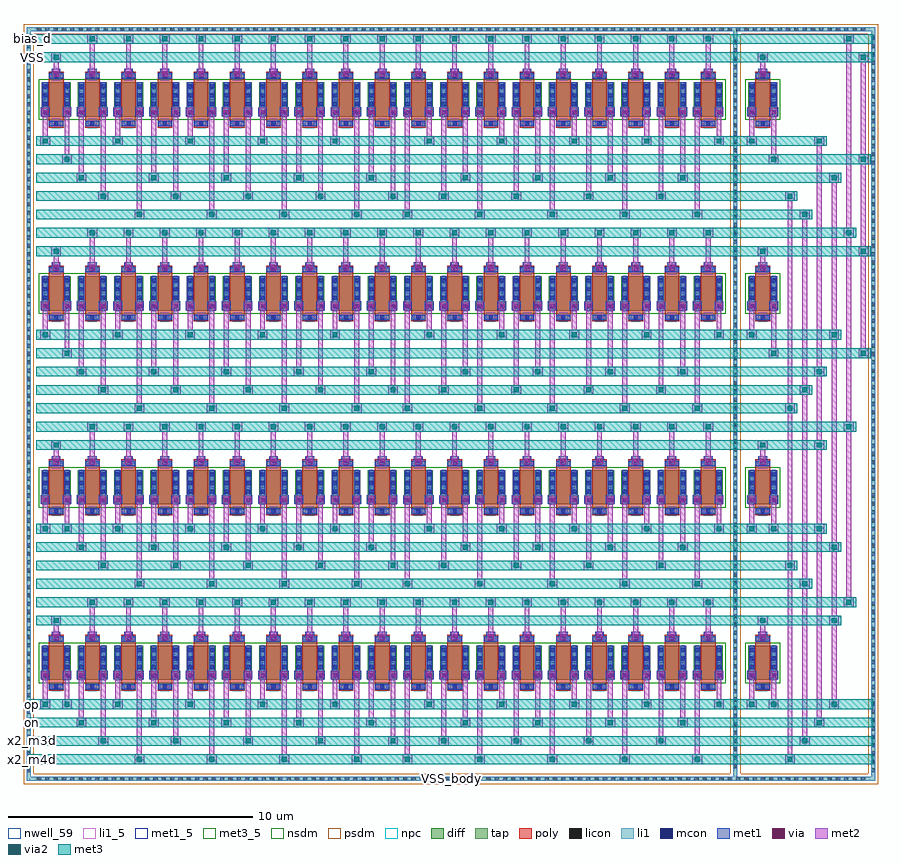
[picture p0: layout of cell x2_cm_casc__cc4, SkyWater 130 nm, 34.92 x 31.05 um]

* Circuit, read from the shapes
.subckt x2_cm_casc__cc4 VSS VSS_body bias_d on op x2_m3d x2_m4d
XM1 op op op VSS_body sky130_fd_pr__nfet_01v8 w=1.4 l=0.6 m=2
XM2 on on on VSS_body sky130_fd_pr__nfet_01v8 w=1.4 l=0.6 m=2
XM3 VSS VSS op VSS_body sky130_fd_pr__nfet_01v8 w=1.4 l=0.6 m=2
XM4 VSS VSS on VSS_body sky130_fd_pr__nfet_01v8 w=1.4 l=0.6 m=2
XM5 x2_m3d bias_d on VSS_body sky130_fd_pr__nfet_01v8 w=1.4 l=0.6 m=36
XM6 x2_m4d bias_d op VSS_body sky130_fd_pr__nfet_01v8 w=1.4 l=0.6 m=36
.ends

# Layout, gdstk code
from math import pi, radians
import gdstk
lib = gdstk.Library(unit=1e-6, precision=1e-09)
def R(c, l, rs):  # rectangles x0, y0, x1, y1
    for r in rs: c.add(gdstk.rectangle(r[:2], r[2:], *l))
def A(c, l, x, y, w, h, nx, ny, dx, dy):  # array of equal rectangles
    R(c, l, [(x+i*dx, y+j*dy, x+i*dx+w, y+j*dy+h) for i in range(nx) for j in range(ny)])
nwell_59 = (64, 59)
diff = (65, 20)
tap = (65, 44)
poly = (66, 20)
licon = (66, 44)
li1_5 = (67, 5)
li1 = (67, 20)
mcon = (67, 44)
met1_5 = (68, 5)
met1 = (68, 20)
via = (68, 44)
met2 = (69, 20)
via2 = (69, 44)
met3_5 = (70, 5)
met3 = (70, 20)
nsdm = (93, 44)
psdm = (94, 20)
npc = (95, 20)

sky130_fd_pr__nfet_01v8_ = lib.new_cell('sky130_fd_pr__nfet_01v8_KCM6UP')
R(sky130_fd_pr__nfet_01v8_, diff, [(-0.59,-0.7,0.59,0.7)])
R(sky130_fd_pr__nfet_01v8_, poly, [(-0.3,-1.14,0.3,1.14)])
A(sky130_fd_pr__nfet_01v8_, licon, -0.53, -0.595, 0.17, 0.17, 1, 4, 0, 0.34)
A(sky130_fd_pr__nfet_01v8_, licon, 0.36, -0.595, 0.17, 0.17, 1, 4, 0, 0.34)
R(sky130_fd_pr__nfet_01v8_, licon, [(-0.085,-1.06,0.085,-0.89), (-0.085,0.89,0.085,1.06)])
R(sky130_fd_pr__nfet_01v8_, li1, [(-0.3,-1.06,0.3,-0.89), (-0.53,-0.72,-0.36,0.72), (0.36,-0.72,0.53,0.72), (-0.3,0.89,0.3,1.06)])
A(sky130_fd_pr__nfet_01v8_, mcon, -0.53, -0.625, 0.17, 0.17, 1, 4, 0, 0.36)
A(sky130_fd_pr__nfet_01v8_, mcon, 0.36, -0.625, 0.17, 0.17, 1, 4, 0, 0.36)
R(sky130_fd_pr__nfet_01v8_, mcon, [(-0.085,-1.06,0.085,-0.89), (-0.085,0.89,0.085,1.06)])
R(sky130_fd_pr__nfet_01v8_, met1, [(-0.28,-1.09,0.28,-0.86), (-0.56,-0.7,-0.33,0.7), (0.33,-0.7,0.56,0.7), (-0.28,0.86,0.28,1.09)])
R(sky130_fd_pr__nfet_01v8_, nsdm, [(-0.715,-0.825,0.715,0.825)])
R(sky130_fd_pr__nfet_01v8_, npc, [(-0.185,-1.16,0.185,-0.79), (-0.185,0.79,0.185,1.16)])
sky130_fd_pr__nfet_01v8_.add(gdstk.Label('D', (-0.445,0), layer=67, texttype=5))
sky130_fd_pr__nfet_01v8_.add(gdstk.Label('S', (0.445,0), layer=67, texttype=5))
sky130_fd_pr__nfet_01v8_.add(gdstk.Label('G', (0,0.975), layer=67, texttype=5))

nfet_01v8_w1p4_l0p6_m2__ = lib.new_cell('nfet_01v8_W1p4_L0p6_m2__nf1_gboth_sdfull_ng')
R(nfet_01v8_w1p4_l0p6_m2__, nwell_59, [(0.05,1.09,0.15,1.19)])
R(nfet_01v8_w1p4_l0p6_m2__, met1_5, [(0.03,1.14,0.26,1.34), (0.92,1.14,1.15,1.34), (0.31,2,0.87,2.23)])
R(nfet_01v8_w1p4_l0p6_m2__, met1, [(0.03,1.14,0.26,1.34), (0.92,1.14,1.15,1.34), (0.31,2,0.87,2.23)])
nfet_01v8_w1p4_l0p6_m2__.add(gdstk.Reference(sky130_fd_pr__nfet_01v8_, (0.59,1.14)))
nfet_01v8_w1p4_l0p6_m2__.add(gdstk.Label('D', (0.145,1.24), layer=68, texttype=5))
nfet_01v8_w1p4_l0p6_m2__.add(gdstk.Label('S', (1.035,1.24), layer=68, texttype=5))
nfet_01v8_w1p4_l0p6_m2__.add(gdstk.Label('G', (0.59,2.115), layer=68, texttype=5))
nfet_01v8_w1p4_l0p6_m2__.add(gdstk.Label('B', (0.1,1.14), layer=64, texttype=59))

nfet_01v8_w1p4_l0p6_m36_ = lib.new_cell('nfet_01v8_W1p4_L0p6_m36__nf1_gboth_sdfull_ng')
R(nfet_01v8_w1p4_l0p6_m36_, nwell_59, [(0.05,1.09,0.15,1.19)])
R(nfet_01v8_w1p4_l0p6_m36_, met1_5, [(0.03,1.14,0.26,1.34), (0.92,1.14,1.15,1.34), (0.31,2,0.87,2.23)])
R(nfet_01v8_w1p4_l0p6_m36_, met1, [(0.03,1.14,0.26,1.34), (0.92,1.14,1.15,1.34), (0.31,2,0.87,2.23)])
nfet_01v8_w1p4_l0p6_m36_.add(gdstk.Reference(sky130_fd_pr__nfet_01v8_, (0.59,1.14)))
nfet_01v8_w1p4_l0p6_m36_.add(gdstk.Label('D', (0.145,1.24), layer=68, texttype=5))
nfet_01v8_w1p4_l0p6_m36_.add(gdstk.Label('S', (1.035,1.24), layer=68, texttype=5))
nfet_01v8_w1p4_l0p6_m36_.add(gdstk.Label('G', (0.59,2.115), layer=68, texttype=5))
nfet_01v8_w1p4_l0p6_m36_.add(gdstk.Label('B', (0.1,1.14), layer=64, texttype=59))

x2_cm_casc__cc4 = lib.new_cell('x2_cm_casc__cc4')
R(x2_cm_casc__cc4, tap, [(-0.485,-3.685,34.185,-3.515), (-0.485,-3.515,-0.315,26.945), (28.385,-3.515,28.555,26.945), (34.015,-3.515,34.185,26.945), (-0.485,26.945,34.185,27.115)])
A(x2_cm_casc__cc4, licon, -0.065, -3.685, 0.17, 0.17, 100, 2, 0.34, 30.63)
A(x2_cm_casc__cc4, licon, -0.485, -3.33, 0.17, 0.17, 1, 89, 0, 0.34)
A(x2_cm_casc__cc4, licon, 34.015, -3.33, 0.17, 0.17, 1, 89, 0, 0.34)
A(x2_cm_casc__cc4, licon, 28.385, -3.16, 0.17, 0.17, 1, 88, 0, 0.34)
R(x2_cm_casc__cc4, li1_5, [(16.8,-3.65,16.9,-3.55)])
R(x2_cm_casc__cc4, li1, [(-0.485,-3.685,34.185,-3.515), (-0.485,-3.515,-0.315,26.945), (28.385,-3.515,28.555,26.945), (34.015,-3.515,34.185,26.945), (-0.485,26.945,34.185,27.115)])
A(x2_cm_casc__cc4, met1, 0.535, 2.05, 0.36, 0.36, 19, 2, 1.48, 7.17)
A(x2_cm_casc__cc4, met1, 0.09, 7.63, 0.36, 0.36, 1, 3, 0, 7.92)
A(x2_cm_casc__cc4, met1, 0.98, 7.63, 0.36, 0.36, 1, 3, 0, 7.92)
A(x2_cm_casc__cc4, met1, 1.57, 7.63, 0.36, 0.36, 1, 3, 0, 7.92)
A(x2_cm_casc__cc4, met1, 2.46, 7.63, 0.36, 0.36, 1, 3, 0, 7.92)
A(x2_cm_casc__cc4, met1, 3.05, 7.63, 0.36, 0.36, 1, 3, 0, 7.92)
A(x2_cm_casc__cc4, met1, 3.94, 7.63, 0.36, 0.36, 1, 3, 0, 7.92)
A(x2_cm_casc__cc4, met1, 4.53, 7.63, 0.36, 0.36, 1, 3, 0, 7.92)
A(x2_cm_casc__cc4, met1, 5.42, 7.63, 0.36, 0.36, 1, 3, 0, 7.92)
A(x2_cm_casc__cc4, met1, 6.01, 7.63, 0.36, 0.36, 1, 3, 0, 7.92)
A(x2_cm_casc__cc4, met1, 6.9, 7.63, 0.36, 0.36, 1, 3, 0, 7.92)
A(x2_cm_casc__cc4, met1, 7.49, 7.63, 0.36, 0.36, 1, 3, 0, 7.92)
A(x2_cm_casc__cc4, met1, 8.38, 7.63, 0.36, 0.36, 1, 3, 0, 7.92)
A(x2_cm_casc__cc4, met1, 8.97, 7.63, 0.36, 0.36, 1, 3, 0, 7.92)
A(x2_cm_casc__cc4, met1, 9.86, 7.63, 0.36, 0.36, 1, 3, 0, 7.92)
A(x2_cm_casc__cc4, met1, 10.45, 7.63, 0.36, 0.36, 1, 3, 0, 7.92)
A(x2_cm_casc__cc4, met1, 11.34, 7.63, 0.36, 0.36, 1, 3, 0, 7.92)
A(x2_cm_casc__cc4, met1, 11.93, 7.63, 0.36, 0.36, 1, 3, 0, 7.92)
A(x2_cm_casc__cc4, met1, 12.82, 7.63, 0.36, 0.36, 1, 3, 0, 7.92)
A(x2_cm_casc__cc4, met1, 13.41, 7.63, 0.36, 0.36, 1, 3, 0, 7.92)
A(x2_cm_casc__cc4, met1, 14.3, 7.63, 0.36, 0.36, 1, 3, 0, 7.92)
A(x2_cm_casc__cc4, met1, 14.89, 7.63, 0.36, 0.36, 1, 3, 0, 7.92)
A(x2_cm_casc__cc4, met1, 15.78, 7.63, 0.36, 0.36, 1, 3, 0, 7.92)
A(x2_cm_casc__cc4, met1, 16.37, 7.63, 0.36, 0.36, 1, 3, 0, 7.92)
A(x2_cm_casc__cc4, met1, 17.26, 7.63, 0.36, 0.36, 1, 3, 0, 7.92)
A(x2_cm_casc__cc4, met1, 17.85, 7.63, 0.36, 0.36, 1, 3, 0, 7.92)
A(x2_cm_casc__cc4, met1, 18.74, 7.63, 0.36, 0.36, 1, 3, 0, 7.92)
A(x2_cm_casc__cc4, met1, 19.33, 7.63, 0.36, 0.36, 1, 3, 0, 7.92)
A(x2_cm_casc__cc4, met1, 20.22, 7.63, 0.36, 0.36, 1, 3, 0, 7.92)
A(x2_cm_casc__cc4, met1, 20.81, 7.63, 0.36, 0.36, 1, 3, 0, 7.92)
A(x2_cm_casc__cc4, met1, 21.7, 7.63, 0.36, 0.36, 1, 3, 0, 7.92)
A(x2_cm_casc__cc4, met1, 22.29, 7.63, 0.36, 0.36, 1, 3, 0, 7.92)
A(x2_cm_casc__cc4, met1, 23.18, 7.63, 0.36, 0.36, 1, 3, 0, 7.92)
A(x2_cm_casc__cc4, met1, 23.77, 7.63, 0.36, 0.36, 1, 3, 0, 7.92)
A(x2_cm_casc__cc4, met1, 24.66, 7.63, 0.36, 0.36, 1, 3, 0, 7.92)
A(x2_cm_casc__cc4, met1, 25.25, 7.63, 0.36, 0.36, 1, 3, 0, 7.92)
A(x2_cm_casc__cc4, met1, 26.14, 7.63, 0.36, 0.36, 1, 3, 0, 7.92)
A(x2_cm_casc__cc4, met1, 26.73, 7.63, 0.36, 0.36, 1, 3, 0, 7.92)
A(x2_cm_casc__cc4, met1, 27.62, 7.63, 0.36, 0.36, 1, 3, 0, 7.92)
A(x2_cm_casc__cc4, met1, 28.96, 7.63, 0.36, 0.36, 1, 3, 0, 7.92)
A(x2_cm_casc__cc4, met1, 29.85, 7.63, 0.36, 0.36, 1, 3, 0, 7.92)
A(x2_cm_casc__cc4, met1, 29.405, 9.22, 0.36, 0.36, 1, 3, 0, 7.92)
A(x2_cm_casc__cc4, met1, 0.535, 17.14, 0.36, 0.36, 19, 2, 1.48, 7.92)
R(x2_cm_casc__cc4, met1, [(0.09,0.46,0.45,0.82), (0.98,0.46,1.34,0.82), (1.57,0.46,1.93,0.82), (2.46,0.46,2.82,0.82), (3.05,0.46,3.41,0.82), (3.94,0.46,4.3,0.82), (4.53,0.46,4.89,0.82), (5.42,0.46,5.78,0.82), (6.01,0.46,6.37,0.82), (6.9,0.46,7.26,0.82), (7.49,0.46,7.85,0.82), (8.38,0.46,8.74,0.82), (8.97,0.46,9.33,0.82), (9.86,0.46,10.22,0.82), (10.45,0.46,10.81,0.82), (11.34,0.46,11.7,0.82), (11.93,0.46,12.29,0.82), (12.82,0.46,13.18,0.82), (13.41,0.46,13.77,0.82), (14.3,0.46,14.66,0.82), (14.89,0.46,15.25,0.82), (15.78,0.46,16.14,0.82), (16.37,0.46,16.73,0.82), (17.26,0.46,17.62,0.82), (17.85,0.46,18.21,0.82), (18.74,0.46,19.1,0.82), (19.33,0.46,19.69,0.82), (20.22,0.46,20.58,0.82), (20.81,0.46,21.17,0.82), (21.7,0.46,22.06,0.82), (22.29,0.46,22.65,0.82), (23.18,0.46,23.54,0.82), (23.77,0.46,24.13,0.82), (24.66,0.46,25.02,0.82), (25.25,0.46,25.61,0.82), (26.14,0.46,26.5,0.82), (26.73,0.46,27.09,0.82), (27.62,0.46,27.98,0.82), (28.96,0.46,29.32,0.82), (29.85,0.46,30.21,0.82), (29.405,2.05,29.765,2.41)])
A(x2_cm_casc__cc4, via, 0.64, 2.155, 0.15, 0.15, 19, 2, 1.48, 7.17)
A(x2_cm_casc__cc4, via, 0.195, 7.735, 0.15, 0.15, 1, 3, 0, 7.92)
A(x2_cm_casc__cc4, via, 1.085, 7.735, 0.15, 0.15, 1, 3, 0, 7.92)
A(x2_cm_casc__cc4, via, 1.675, 7.735, 0.15, 0.15, 1, 3, 0, 7.92)
A(x2_cm_casc__cc4, via, 2.565, 7.735, 0.15, 0.15, 1, 3, 0, 7.92)
A(x2_cm_casc__cc4, via, 3.155, 7.735, 0.15, 0.15, 1, 3, 0, 7.92)
A(x2_cm_casc__cc4, via, 4.045, 7.735, 0.15, 0.15, 1, 3, 0, 7.92)
A(x2_cm_casc__cc4, via, 4.635, 7.735, 0.15, 0.15, 1, 3, 0, 7.92)
A(x2_cm_casc__cc4, via, 5.525, 7.735, 0.15, 0.15, 1, 3, 0, 7.92)
A(x2_cm_casc__cc4, via, 6.115, 7.735, 0.15, 0.15, 1, 3, 0, 7.92)
A(x2_cm_casc__cc4, via, 7.005, 7.735, 0.15, 0.15, 1, 3, 0, 7.92)
A(x2_cm_casc__cc4, via, 7.595, 7.735, 0.15, 0.15, 1, 3, 0, 7.92)
A(x2_cm_casc__cc4, via, 8.485, 7.735, 0.15, 0.15, 1, 3, 0, 7.92)
A(x2_cm_casc__cc4, via, 9.075, 7.735, 0.15, 0.15, 1, 3, 0, 7.92)
A(x2_cm_casc__cc4, via, 9.965, 7.735, 0.15, 0.15, 1, 3, 0, 7.92)
A(x2_cm_casc__cc4, via, 10.555, 7.735, 0.15, 0.15, 1, 3, 0, 7.92)
A(x2_cm_casc__cc4, via, 11.445, 7.735, 0.15, 0.15, 1, 3, 0, 7.92)
A(x2_cm_casc__cc4, via, 12.035, 7.735, 0.15, 0.15, 1, 3, 0, 7.92)
A(x2_cm_casc__cc4, via, 12.925, 7.735, 0.15, 0.15, 1, 3, 0, 7.92)
A(x2_cm_casc__cc4, via, 13.515, 7.735, 0.15, 0.15, 1, 3, 0, 7.92)
A(x2_cm_casc__cc4, via, 14.405, 7.735, 0.15, 0.15, 1, 3, 0, 7.92)
A(x2_cm_casc__cc4, via, 14.995, 7.735, 0.15, 0.15, 1, 3, 0, 7.92)
A(x2_cm_casc__cc4, via, 15.885, 7.735, 0.15, 0.15, 1, 3, 0, 7.92)
A(x2_cm_casc__cc4, via, 16.475, 7.735, 0.15, 0.15, 1, 3, 0, 7.92)
A(x2_cm_casc__cc4, via, 17.365, 7.735, 0.15, 0.15, 1, 3, 0, 7.92)
A(x2_cm_casc__cc4, via, 17.955, 7.735, 0.15, 0.15, 1, 3, 0, 7.92)
A(x2_cm_casc__cc4, via, 18.845, 7.735, 0.15, 0.15, 1, 3, 0, 7.92)
A(x2_cm_casc__cc4, via, 19.435, 7.735, 0.15, 0.15, 1, 3, 0, 7.92)
A(x2_cm_casc__cc4, via, 20.325, 7.735, 0.15, 0.15, 1, 3, 0, 7.92)
A(x2_cm_casc__cc4, via, 20.915, 7.735, 0.15, 0.15, 1, 3, 0, 7.92)
A(x2_cm_casc__cc4, via, 21.805, 7.735, 0.15, 0.15, 1, 3, 0, 7.92)
A(x2_cm_casc__cc4, via, 22.395, 7.735, 0.15, 0.15, 1, 3, 0, 7.92)
A(x2_cm_casc__cc4, via, 23.285, 7.735, 0.15, 0.15, 1, 3, 0, 7.92)
A(x2_cm_casc__cc4, via, 23.875, 7.735, 0.15, 0.15, 1, 3, 0, 7.92)
A(x2_cm_casc__cc4, via, 24.765, 7.735, 0.15, 0.15, 1, 3, 0, 7.92)
A(x2_cm_casc__cc4, via, 25.355, 7.735, 0.15, 0.15, 1, 3, 0, 7.92)
A(x2_cm_casc__cc4, via, 26.245, 7.735, 0.15, 0.15, 1, 3, 0, 7.92)
A(x2_cm_casc__cc4, via, 26.835, 7.735, 0.15, 0.15, 1, 3, 0, 7.92)
A(x2_cm_casc__cc4, via, 27.725, 7.735, 0.15, 0.15, 1, 3, 0, 7.92)
A(x2_cm_casc__cc4, via, 29.065, 7.735, 0.15, 0.15, 1, 3, 0, 7.92)
A(x2_cm_casc__cc4, via, 29.955, 7.735, 0.15, 0.15, 1, 3, 0, 7.92)
A(x2_cm_casc__cc4, via, 29.51, 9.325, 0.15, 0.15, 1, 3, 0, 7.92)
A(x2_cm_casc__cc4, via, 0.64, 17.245, 0.15, 0.15, 19, 2, 1.48, 7.92)
R(x2_cm_casc__cc4, via, [(0.195,0.565,0.345,0.715), (1.085,0.565,1.235,0.715), (1.675,0.565,1.825,0.715), (2.565,0.565,2.715,0.715), (3.155,0.565,3.305,0.715), (4.045,0.565,4.195,0.715), (4.635,0.565,4.785,0.715), (5.525,0.565,5.675,0.715), (6.115,0.565,6.265,0.715), (7.005,0.565,7.155,0.715), (7.595,0.565,7.745,0.715), (8.485,0.565,8.635,0.715), (9.075,0.565,9.225,0.715), (9.965,0.565,10.115,0.715), (10.555,0.565,10.705,0.715), (11.445,0.565,11.595,0.715), (12.035,0.565,12.185,0.715), (12.925,0.565,13.075,0.715), (13.515,0.565,13.665,0.715), (14.405,0.565,14.555,0.715), (14.995,0.565,15.145,0.715), (15.885,0.565,16.035,0.715), (16.475,0.565,16.625,0.715), (17.365,0.565,17.515,0.715), (17.955,0.565,18.105,0.715), (18.845,0.565,18.995,0.715), (19.435,0.565,19.585,0.715), (20.325,0.565,20.475,0.715), (20.915,0.565,21.065,0.715), (21.805,0.565,21.955,0.715), (22.395,0.565,22.545,0.715), (23.285,0.565,23.435,0.715), (23.875,0.565,24.025,0.715), (24.765,0.565,24.915,0.715), (25.355,0.565,25.505,0.715), (26.245,0.565,26.395,0.715), (26.835,0.565,26.985,0.715), (27.725,0.565,27.875,0.715), (29.065,0.565,29.215,0.715), (29.955,0.565,30.105,0.715), (29.51,2.155,29.66,2.305)])
A(x2_cm_casc__cc4, met2, 3.92, -3, 0.4, 0.4, 4, 3, 2.96, 7.17)
A(x2_cm_casc__cc4, met2, 14.87, -3, 0.4, 0.4, 5, 3, 2.96, 7.17)
A(x2_cm_casc__cc4, met2, 4.02, -2.6, 0.2, 3.08, 4, 2, 2.96, 7.17)
A(x2_cm_casc__cc4, met2, 14.97, -2.6, 0.2, 3.08, 5, 2, 2.96, 7.17)
A(x2_cm_casc__cc4, met2, 2.44, -2.25, 0.4, 0.4, 5, 3, 2.96, 7.17)
A(x2_cm_casc__cc4, met2, 16.35, -2.25, 0.4, 0.4, 4, 3, 2.96, 7.17)
A(x2_cm_casc__cc4, met2, 2.54, -1.85, 0.2, 2.33, 5, 2, 2.96, 7.17)
A(x2_cm_casc__cc4, met2, 16.45, -1.85, 0.2, 2.33, 4, 2, 2.96, 7.17)
A(x2_cm_casc__cc4, met2, 1.55, -1.5, 0.4, 0.4, 5, 3, 2.96, 7.17)
A(x2_cm_casc__cc4, met2, 17.24, -1.5, 0.4, 0.4, 4, 3, 2.96, 7.17)
A(x2_cm_casc__cc4, met2, 1.65, -1.1, 0.2, 1.58, 5, 2, 2.96, 7.17)
A(x2_cm_casc__cc4, met2, 17.34, -1.1, 0.2, 1.58, 4, 2, 2.96, 7.17)
A(x2_cm_casc__cc4, met2, 0.96, -0.75, 0.4, 0.4, 1, 3, 0, 7.17)
A(x2_cm_casc__cc4, met2, 3.03, -0.75, 0.4, 0.4, 4, 2, 2.96, 7.17)
A(x2_cm_casc__cc4, met2, 15.76, -0.75, 0.4, 0.4, 5, 2, 2.96, 7.17)
A(x2_cm_casc__cc4, met2, 29.83, -0.75, 0.4, 0.4, 1, 3, 0, 7.17)
A(x2_cm_casc__cc4, met2, 3.13, -0.35, 0.2, 0.83, 4, 2, 2.96, 7.17)
A(x2_cm_casc__cc4, met2, 15.86, -0.35, 0.2, 0.83, 5, 2, 2.96, 7.17)
A(x2_cm_casc__cc4, met2, 0.585, 2.07, 0.26, 0.32, 19, 2, 1.48, 7.17)
A(x2_cm_casc__cc4, met2, 2.095, 2.39, 0.2, 1.03, 18, 2, 1.48, 7.17)
A(x2_cm_casc__cc4, met2, 1.995, 3.42, 0.4, 0.4, 18, 2, 1.48, 7.17)
A(x2_cm_casc__cc4, met2, 28.94, 6.42, 0.4, 0.4, 1, 3, 0, 7.92)
A(x2_cm_casc__cc4, met2, 29.04, 6.82, 0.2, 0.83, 1, 3, 0, 7.92)
A(x2_cm_casc__cc4, met2, 0.14, 7.65, 0.26, 0.32, 1, 3, 0, 7.92)
A(x2_cm_casc__cc4, met2, 1.03, 7.65, 0.26, 0.32, 1, 3, 0, 7.92)
A(x2_cm_casc__cc4, met2, 1.62, 7.65, 0.26, 0.32, 1, 3, 0, 7.92)
A(x2_cm_casc__cc4, met2, 2.51, 7.65, 0.26, 0.32, 1, 3, 0, 7.92)
A(x2_cm_casc__cc4, met2, 3.1, 7.65, 0.26, 0.32, 1, 3, 0, 7.92)
A(x2_cm_casc__cc4, met2, 3.99, 7.65, 0.26, 0.32, 1, 3, 0, 7.92)
A(x2_cm_casc__cc4, met2, 4.58, 7.65, 0.26, 0.32, 1, 3, 0, 7.92)
A(x2_cm_casc__cc4, met2, 5.47, 7.65, 0.26, 0.32, 1, 3, 0, 7.92)
A(x2_cm_casc__cc4, met2, 6.06, 7.65, 0.26, 0.32, 1, 3, 0, 7.92)
A(x2_cm_casc__cc4, met2, 6.95, 7.65, 0.26, 0.32, 1, 3, 0, 7.92)
A(x2_cm_casc__cc4, met2, 7.54, 7.65, 0.26, 0.32, 1, 3, 0, 7.92)
A(x2_cm_casc__cc4, met2, 8.43, 7.65, 0.26, 0.32, 1, 3, 0, 7.92)
A(x2_cm_casc__cc4, met2, 9.02, 7.65, 0.26, 0.32, 1, 3, 0, 7.92)
A(x2_cm_casc__cc4, met2, 9.91, 7.65, 0.26, 0.32, 1, 3, 0, 7.92)
A(x2_cm_casc__cc4, met2, 10.5, 7.65, 0.26, 0.32, 1, 3, 0, 7.92)
A(x2_cm_casc__cc4, met2, 11.39, 7.65, 0.26, 0.32, 1, 3, 0, 7.92)
A(x2_cm_casc__cc4, met2, 11.98, 7.65, 0.26, 0.32, 1, 3, 0, 7.92)
A(x2_cm_casc__cc4, met2, 12.87, 7.65, 0.26, 0.32, 1, 3, 0, 7.92)
A(x2_cm_casc__cc4, met2, 13.46, 7.65, 0.26, 0.32, 1, 3, 0, 7.92)
A(x2_cm_casc__cc4, met2, 14.35, 7.65, 0.26, 0.32, 1, 3, 0, 7.92)
A(x2_cm_casc__cc4, met2, 14.94, 7.65, 0.26, 0.32, 1, 3, 0, 7.92)
A(x2_cm_casc__cc4, met2, 15.83, 7.65, 0.26, 0.32, 1, 3, 0, 7.92)
A(x2_cm_casc__cc4, met2, 16.42, 7.65, 0.26, 0.32, 1, 3, 0, 7.92)
A(x2_cm_casc__cc4, met2, 17.31, 7.65, 0.26, 0.32, 1, 3, 0, 7.92)
A(x2_cm_casc__cc4, met2, 17.9, 7.65, 0.26, 0.32, 1, 3, 0, 7.92)
A(x2_cm_casc__cc4, met2, 18.79, 7.65, 0.26, 0.32, 1, 3, 0, 7.92)
A(x2_cm_casc__cc4, met2, 19.38, 7.65, 0.26, 0.32, 1, 3, 0, 7.92)
A(x2_cm_casc__cc4, met2, 20.27, 7.65, 0.26, 0.32, 1, 3, 0, 7.92)
A(x2_cm_casc__cc4, met2, 20.86, 7.65, 0.26, 0.32, 1, 3, 0, 7.92)
A(x2_cm_casc__cc4, met2, 21.75, 7.65, 0.26, 0.32, 1, 3, 0, 7.92)
A(x2_cm_casc__cc4, met2, 22.34, 7.65, 0.26, 0.32, 1, 3, 0, 7.92)
A(x2_cm_casc__cc4, met2, 23.23, 7.65, 0.26, 0.32, 1, 3, 0, 7.92)
A(x2_cm_casc__cc4, met2, 23.82, 7.65, 0.26, 0.32, 1, 3, 0, 7.92)
A(x2_cm_casc__cc4, met2, 24.71, 7.65, 0.26, 0.32, 1, 3, 0, 7.92)
A(x2_cm_casc__cc4, met2, 25.3, 7.65, 0.26, 0.32, 1, 3, 0, 7.92)
A(x2_cm_casc__cc4, met2, 26.19, 7.65, 0.26, 0.32, 1, 3, 0, 7.92)
A(x2_cm_casc__cc4, met2, 26.78, 7.65, 0.26, 0.32, 1, 3, 0, 7.92)
A(x2_cm_casc__cc4, met2, 27.67, 7.65, 0.26, 0.32, 1, 3, 0, 7.92)
A(x2_cm_casc__cc4, met2, 29.01, 7.65, 0.26, 0.32, 1, 3, 0, 7.92)
A(x2_cm_casc__cc4, met2, 29.9, 7.65, 0.26, 0.32, 1, 3, 0, 7.92)
A(x2_cm_casc__cc4, met2, 29.455, 9.24, 0.26, 0.32, 1, 3, 0, 7.92)
A(x2_cm_casc__cc4, met2, 0.615, 9.56, 0.2, 0.28, 1, 3, 0, 7.92)
A(x2_cm_casc__cc4, met2, 29.485, 9.56, 0.2, 0.28, 1, 3, 0, 7.92)
A(x2_cm_casc__cc4, met2, 0.515, 9.84, 0.4, 0.4, 1, 3, 0, 7.92)
A(x2_cm_casc__cc4, met2, 29.385, 9.84, 0.4, 0.4, 1, 3, 0, 7.92)
A(x2_cm_casc__cc4, met2, 32.9, 10.59, 0.4, 0.4, 1, 3, 0, 7.92)
A(x2_cm_casc__cc4, met2, 4.02, 11.74, 0.2, 3.83, 4, 2, 2.96, 7.92)
A(x2_cm_casc__cc4, met2, 14.97, 11.74, 0.2, 3.83, 5, 2, 2.96, 7.92)
A(x2_cm_casc__cc4, met2, 2.54, 12.49, 0.2, 3.08, 5, 2, 2.96, 7.92)
A(x2_cm_casc__cc4, met2, 16.45, 12.49, 0.2, 3.08, 4, 2, 2.96, 7.92)
A(x2_cm_casc__cc4, met2, 1.65, 13.24, 0.2, 2.33, 5, 2, 2.96, 7.92)
A(x2_cm_casc__cc4, met2, 17.34, 13.24, 0.2, 2.33, 4, 2, 2.96, 7.92)
A(x2_cm_casc__cc4, met2, 0.07, 14.34, 0.4, 0.4, 5, 2, 2.96, 7.92)
A(x2_cm_casc__cc4, met2, 15.76, 14.34, 0.4, 0.4, 5, 2, 2.96, 7.92)
A(x2_cm_casc__cc4, met2, 0.17, 14.74, 0.2, 0.83, 5, 2, 2.96, 7.92)
A(x2_cm_casc__cc4, met2, 15.86, 14.74, 0.2, 0.83, 5, 2, 2.96, 7.92)
A(x2_cm_casc__cc4, met2, 0.585, 17.16, 0.26, 0.32, 19, 2, 1.48, 7.92)
A(x2_cm_casc__cc4, met2, 2.095, 17.48, 0.2, 1.03, 18, 2, 1.48, 7.92)
A(x2_cm_casc__cc4, met2, 1.995, 18.51, 0.4, 0.4, 18, 2, 1.48, 7.92)
A(x2_cm_casc__cc4, met2, 3.92, 19.26, 0.4, 0.4, 4, 1, 2.96, 0)
A(x2_cm_casc__cc4, met2, 14.87, 19.26, 0.4, 0.4, 5, 1, 2.96, 0)
A(x2_cm_casc__cc4, met2, 2.44, 20.01, 0.4, 0.4, 5, 1, 2.96, 0)
A(x2_cm_casc__cc4, met2, 16.35, 20.01, 0.4, 0.4, 4, 1, 2.96, 0)
A(x2_cm_casc__cc4, met2, 1.55, 20.76, 0.4, 0.4, 5, 1, 2.96, 0)
A(x2_cm_casc__cc4, met2, 17.24, 20.76, 0.4, 0.4, 4, 1, 2.96, 0)
R(x2_cm_casc__cc4, met2, [(30.5,-3,30.9,-2.6), (30.6,-2.6,30.8,4.92), (31.1,-2.25,31.5,-1.85), (31.2,-1.85,31.4,4.17), (31.7,-1.5,32.1,-1.1), (31.8,-1.1,32,6.42), (0.07,-0.75,0.47,-0.35), (28.94,-0.75,29.34,-0.35), (32.3,-0.75,32.7,-0.35), (0.17,-0.35,0.37,0.48), (1.06,-0.35,1.26,0.48), (29.04,-0.35,29.24,0.48), (29.93,-0.35,30.13,0.48), (32.4,-0.35,32.6,2.67), (0.14,0.48,0.4,0.8), (1.03,0.48,1.29,0.8), (1.62,0.48,1.88,0.8), (2.51,0.48,2.77,0.8), (3.1,0.48,3.36,0.8), (3.99,0.48,4.25,0.8), (4.58,0.48,4.84,0.8), (5.47,0.48,5.73,0.8), (6.06,0.48,6.32,0.8), (6.95,0.48,7.21,0.8), (7.54,0.48,7.8,0.8), (8.43,0.48,8.69,0.8), (9.02,0.48,9.28,0.8), (9.91,0.48,10.17,0.8), (10.5,0.48,10.76,0.8), (11.39,0.48,11.65,0.8), (11.98,0.48,12.24,0.8), (12.87,0.48,13.13,0.8), (13.46,0.48,13.72,0.8), (14.35,0.48,14.61,0.8), (14.94,0.48,15.2,0.8), (15.83,0.48,16.09,0.8), (16.42,0.48,16.68,0.8), (17.31,0.48,17.57,0.8), (17.9,0.48,18.16,0.8), (18.79,0.48,19.05,0.8), (19.38,0.48,19.64,0.8), (20.27,0.48,20.53,0.8), (20.86,0.48,21.12,0.8), (21.75,0.48,22.01,0.8), (22.34,0.48,22.6,0.8), (23.23,0.48,23.49,0.8), (23.82,0.48,24.08,0.8), (24.71,0.48,24.97,0.8), (25.3,0.48,25.56,0.8), (26.19,0.48,26.45,0.8), (26.78,0.48,27.04,0.8), (27.67,0.48,27.93,0.8), (29.01,0.48,29.27,0.8), (29.9,0.48,30.16,0.8), (29.455,2.07,29.715,2.39), (0.615,2.39,0.815,2.67), (29.485,2.39,29.685,2.67), (0.515,2.67,0.915,3.07), (29.385,2.67,29.785,3.07), (32.3,2.67,32.7,3.07), (32.4,3.07,32.6,5.67), (32.9,3.42,33.3,3.82), (33,3.82,33.2,10.59), (31.1,4.17,31.5,4.57), (31.2,4.57,31.4,12.09), (30.5,4.92,30.9,5.32), (30.6,5.32,30.8,11.34), (32.3,5.67,32.7,6.07), (32.4,6.07,32.6,14.34), (0.07,6.42,0.47,6.82), (31.7,6.42,32.1,6.82), (0.17,6.82,0.37,7.65), (1.06,6.82,1.26,7.65), (29.93,6.82,30.13,7.65), (31.8,6.82,32,9.84), (31.7,9.84,32.1,10.24), (31.8,10.24,32,12.84), (33,10.99,33.2,18.51), (30.5,11.34,30.9,11.74), (30.6,11.74,30.8,20.01), (31.1,12.09,31.5,12.49), (31.2,12.49,31.4,19.26), (31.7,12.84,32.1,13.24), (31.8,13.24,32,22.26), (33.5,13.59,33.9,13.99), (1.06,13.99,1.26,15.57), (29.93,13.99,30.13,15.57), (33.6,13.99,33.8,17.76), (32.3,14.34,32.7,14.74), (32.4,14.74,32.6,20.76), (33.5,17.76,33.9,18.16), (33.6,18.16,33.8,21.51), (33,18.91,33.2,26.43), (31.1,19.26,31.5,19.66), (30.5,20.01,30.9,20.41), (32.3,20.76,32.7,21.16), (0.96,21.51,1.36,21.91), (29.83,21.51,30.23,21.91), (33.5,21.51,33.9,21.91), (1.06,21.91,1.26,23.49), (29.93,21.91,30.13,23.49), (33.6,21.91,33.8,25.68), (31.7,22.26,32.1,22.66), (33.5,25.68,33.9,26.08)])
A(x2_cm_casc__cc4, via2, 4.02, -2.9, 0.2, 0.2, 4, 3, 2.96, 7.17)
A(x2_cm_casc__cc4, via2, 14.97, -2.9, 0.2, 0.2, 5, 3, 2.96, 7.17)
A(x2_cm_casc__cc4, via2, 2.54, -2.15, 0.2, 0.2, 5, 3, 2.96, 7.17)
A(x2_cm_casc__cc4, via2, 16.45, -2.15, 0.2, 0.2, 4, 3, 2.96, 7.17)
A(x2_cm_casc__cc4, via2, 1.65, -1.4, 0.2, 0.2, 5, 3, 2.96, 7.17)
A(x2_cm_casc__cc4, via2, 17.34, -1.4, 0.2, 0.2, 4, 3, 2.96, 7.17)
A(x2_cm_casc__cc4, via2, 1.06, -0.65, 0.2, 0.2, 1, 3, 0, 7.17)
A(x2_cm_casc__cc4, via2, 3.13, -0.65, 0.2, 0.2, 4, 2, 2.96, 7.17)
A(x2_cm_casc__cc4, via2, 15.86, -0.65, 0.2, 0.2, 5, 2, 2.96, 7.17)
A(x2_cm_casc__cc4, via2, 29.93, -0.65, 0.2, 0.2, 1, 3, 0, 7.17)
A(x2_cm_casc__cc4, via2, 2.095, 3.52, 0.2, 0.2, 18, 2, 1.48, 7.17)
A(x2_cm_casc__cc4, via2, 29.04, 6.52, 0.2, 0.2, 1, 3, 0, 7.92)
A(x2_cm_casc__cc4, via2, 0.615, 9.94, 0.2, 0.2, 1, 3, 0, 7.92)
A(x2_cm_casc__cc4, via2, 29.485, 9.94, 0.2, 0.2, 1, 3, 0, 7.92)
A(x2_cm_casc__cc4, via2, 33, 10.69, 0.2, 0.2, 1, 3, 0, 7.92)
A(x2_cm_casc__cc4, via2, 0.17, 14.44, 0.2, 0.2, 5, 2, 2.96, 7.92)
A(x2_cm_casc__cc4, via2, 15.86, 14.44, 0.2, 0.2, 5, 2, 2.96, 7.92)
A(x2_cm_casc__cc4, via2, 2.095, 18.61, 0.2, 0.2, 18, 2, 1.48, 7.92)
A(x2_cm_casc__cc4, via2, 4.02, 19.36, 0.2, 0.2, 4, 1, 2.96, 0)
A(x2_cm_casc__cc4, via2, 14.97, 19.36, 0.2, 0.2, 5, 1, 2.96, 0)
A(x2_cm_casc__cc4, via2, 2.54, 20.11, 0.2, 0.2, 5, 1, 2.96, 0)
A(x2_cm_casc__cc4, via2, 16.45, 20.11, 0.2, 0.2, 4, 1, 2.96, 0)
A(x2_cm_casc__cc4, via2, 1.65, 20.86, 0.2, 0.2, 5, 1, 2.96, 0)
A(x2_cm_casc__cc4, via2, 17.34, 20.86, 0.2, 0.2, 4, 1, 2.96, 0)
R(x2_cm_casc__cc4, via2, [(30.6,-2.9,30.8,-2.7), (31.2,-2.15,31.4,-1.95), (31.8,-1.4,32,-1.2), (0.17,-0.65,0.37,-0.45), (29.04,-0.65,29.24,-0.45), (32.4,-0.65,32.6,-0.45), (0.615,2.77,0.815,2.97), (29.485,2.77,29.685,2.97), (32.4,2.77,32.6,2.97), (33,3.52,33.2,3.72), (31.2,4.27,31.4,4.47), (30.6,5.02,30.8,5.22), (32.4,5.77,32.6,5.97), (0.17,6.52,0.37,6.72), (31.8,6.52,32,6.72), (31.8,9.94,32,10.14), (30.6,11.44,30.8,11.64), (31.2,12.19,31.4,12.39), (31.8,12.94,32,13.14), (33.6,13.69,33.8,13.89), (32.4,14.44,32.6,14.64), (33.6,17.86,33.8,18.06), (31.2,19.36,31.4,19.56), (30.6,20.11,30.8,20.31), (32.4,20.86,32.6,21.06), (1.06,21.61,1.26,21.81), (29.93,21.61,30.13,21.81), (33.6,21.61,33.8,21.81), (31.8,22.36,32,22.56), (33.6,25.78,33.8,25.98)])
A(x2_cm_casc__cc4, met3_5, -0.3, -2.85, 0.1, 0.1, 1, 4, 0, 0.75)
R(x2_cm_casc__cc4, met3_5, [(-0.3,25.83,-0.2,25.93), (-0.3,26.58,-0.2,26.68)])
A(x2_cm_casc__cc4, met3, -0.4, -3, 34.5, 0.4, 1, 4, 0, 0.75)
R(x2_cm_casc__cc4, met3, [(-0.1,2.67,32.8,3.07), (-0.1,3.42,33.4,3.82), (-0.1,4.17,31.6,4.57), (-0.1,4.92,31,5.32), (-0.1,5.67,32.8,6.07), (-0.1,6.42,32.2,6.82), (-0.1,9.84,32.2,10.24), (-0.1,10.59,33.4,10.99), (-0.1,11.34,31,11.74), (-0.1,12.09,31.6,12.49), (-0.1,12.84,32.2,13.24), (-0.1,13.59,34,13.99), (-0.1,14.34,32.8,14.74), (-0.1,17.76,34,18.16), (-0.1,18.51,33.4,18.91), (-0.1,19.26,31.6,19.66), (-0.1,20.01,31,20.41), (-0.1,20.76,32.8,21.16), (-0.1,21.51,34,21.91), (-0.1,22.26,32.2,22.66), (-0.4,25.68,34.1,26.08), (-0.4,26.43,34.1,26.83)])
A(x2_cm_casc__cc4, nsdm, 1.435, 0.315, 0.05, 1.65, 18, 2, 1.48, 7.17)
A(x2_cm_casc__cc4, nsdm, 1.435, 15.405, 0.05, 1.65, 18, 2, 1.48, 7.92)
R(x2_cm_casc__cc4, psdm, [(-0.61,-3.81,34.31,-3.39), (-0.61,-3.39,-0.19,26.82), (28.26,-3.39,28.68,26.82), (33.89,-3.39,34.31,26.82), (-0.61,26.82,34.31,27.24)])
x2_cm_casc__cc4.add(gdstk.Reference(nfet_01v8_w1p4_l0p6_m2__, (29,23.01)))
x2_cm_casc__cc4.add(gdstk.Reference(nfet_01v8_w1p4_l0p6_m36_, (27.95,23.01), rotation=pi, x_reflection=True))
x2_cm_casc__cc4.add(gdstk.Reference(nfet_01v8_w1p4_l0p6_m36_, (26.47,23.01), rotation=pi, x_reflection=True))
x2_cm_casc__cc4.add(gdstk.Reference(nfet_01v8_w1p4_l0p6_m36_, (24.99,23.01), rotation=pi, x_reflection=True))
x2_cm_casc__cc4.add(gdstk.Reference(nfet_01v8_w1p4_l0p6_m36_, (23.51,23.01), rotation=pi, x_reflection=True))
x2_cm_casc__cc4.add(gdstk.Reference(nfet_01v8_w1p4_l0p6_m36_, (22.03,23.01), rotation=pi, x_reflection=True))
x2_cm_casc__cc4.add(gdstk.Reference(nfet_01v8_w1p4_l0p6_m36_, (20.55,23.01), rotation=pi, x_reflection=True))
x2_cm_casc__cc4.add(gdstk.Reference(nfet_01v8_w1p4_l0p6_m36_, (19.07,23.01), rotation=pi, x_reflection=True))
x2_cm_casc__cc4.add(gdstk.Reference(nfet_01v8_w1p4_l0p6_m36_, (17.59,23.01), rotation=pi, x_reflection=True))
x2_cm_casc__cc4.add(gdstk.Reference(nfet_01v8_w1p4_l0p6_m36_, (16.11,23.01), rotation=pi, x_reflection=True))
x2_cm_casc__cc4.add(gdstk.Reference(nfet_01v8_w1p4_l0p6_m36_, (13.45,23.01)))
x2_cm_casc__cc4.add(gdstk.Reference(nfet_01v8_w1p4_l0p6_m36_, (11.97,23.01)))
x2_cm_casc__cc4.add(gdstk.Reference(nfet_01v8_w1p4_l0p6_m36_, (10.49,23.01)))
x2_cm_casc__cc4.add(gdstk.Reference(nfet_01v8_w1p4_l0p6_m36_, (9.01,23.01)))
x2_cm_casc__cc4.add(gdstk.Reference(nfet_01v8_w1p4_l0p6_m36_, (7.53,23.01)))
x2_cm_casc__cc4.add(gdstk.Reference(nfet_01v8_w1p4_l0p6_m36_, (6.05,23.01)))
x2_cm_casc__cc4.add(gdstk.Reference(nfet_01v8_w1p4_l0p6_m36_, (4.57,23.01)))
x2_cm_casc__cc4.add(gdstk.Reference(nfet_01v8_w1p4_l0p6_m36_, (3.09,23.01)))
x2_cm_casc__cc4.add(gdstk.Reference(nfet_01v8_w1p4_l0p6_m36_, (1.61,23.01)))
x2_cm_casc__cc4.add(gdstk.Reference(nfet_01v8_w1p4_l0p6_m2__, (0.13,23.01)))
x2_cm_casc__cc4.add(gdstk.Reference(nfet_01v8_w1p4_l0p6_m2__, (29,15.09)))
x2_cm_casc__cc4.add(gdstk.Reference(nfet_01v8_w1p4_l0p6_m36_, (27.95,15.09), rotation=pi, x_reflection=True))
x2_cm_casc__cc4.add(gdstk.Reference(nfet_01v8_w1p4_l0p6_m36_, (26.47,15.09), rotation=pi, x_reflection=True))
x2_cm_casc__cc4.add(gdstk.Reference(nfet_01v8_w1p4_l0p6_m36_, (24.99,15.09), rotation=pi, x_reflection=True))
x2_cm_casc__cc4.add(gdstk.Reference(nfet_01v8_w1p4_l0p6_m36_, (23.51,15.09), rotation=pi, x_reflection=True))
x2_cm_casc__cc4.add(gdstk.Reference(nfet_01v8_w1p4_l0p6_m36_, (22.03,15.09), rotation=pi, x_reflection=True))
x2_cm_casc__cc4.add(gdstk.Reference(nfet_01v8_w1p4_l0p6_m36_, (20.55,15.09), rotation=pi, x_reflection=True))
x2_cm_casc__cc4.add(gdstk.Reference(nfet_01v8_w1p4_l0p6_m36_, (19.07,15.09), rotation=pi, x_reflection=True))
x2_cm_casc__cc4.add(gdstk.Reference(nfet_01v8_w1p4_l0p6_m36_, (17.59,15.09), rotation=pi, x_reflection=True))
x2_cm_casc__cc4.add(gdstk.Reference(nfet_01v8_w1p4_l0p6_m36_, (16.11,15.09), rotation=pi, x_reflection=True))
x2_cm_casc__cc4.add(gdstk.Reference(nfet_01v8_w1p4_l0p6_m36_, (13.45,15.09)))
x2_cm_casc__cc4.add(gdstk.Reference(nfet_01v8_w1p4_l0p6_m36_, (11.97,15.09)))
x2_cm_casc__cc4.add(gdstk.Reference(nfet_01v8_w1p4_l0p6_m36_, (10.49,15.09)))
x2_cm_casc__cc4.add(gdstk.Reference(nfet_01v8_w1p4_l0p6_m36_, (9.01,15.09)))
x2_cm_casc__cc4.add(gdstk.Reference(nfet_01v8_w1p4_l0p6_m36_, (7.53,15.09)))
x2_cm_casc__cc4.add(gdstk.Reference(nfet_01v8_w1p4_l0p6_m36_, (6.05,15.09)))
x2_cm_casc__cc4.add(gdstk.Reference(nfet_01v8_w1p4_l0p6_m36_, (4.57,15.09)))
x2_cm_casc__cc4.add(gdstk.Reference(nfet_01v8_w1p4_l0p6_m36_, (3.09,15.09)))
x2_cm_casc__cc4.add(gdstk.Reference(nfet_01v8_w1p4_l0p6_m36_, (1.61,15.09)))
x2_cm_casc__cc4.add(gdstk.Reference(nfet_01v8_w1p4_l0p6_m2__, (0.13,15.09)))
x2_cm_casc__cc4.add(gdstk.Reference(nfet_01v8_w1p4_l0p6_m2__, (29,7.17)))
x2_cm_casc__cc4.add(gdstk.Reference(nfet_01v8_w1p4_l0p6_m36_, (27.95,7.17), rotation=pi, x_reflection=True))
x2_cm_casc__cc4.add(gdstk.Reference(nfet_01v8_w1p4_l0p6_m36_, (26.47,7.17), rotation=pi, x_reflection=True))
x2_cm_casc__cc4.add(gdstk.Reference(nfet_01v8_w1p4_l0p6_m36_, (24.99,7.17), rotation=pi, x_reflection=True))
x2_cm_casc__cc4.add(gdstk.Reference(nfet_01v8_w1p4_l0p6_m36_, (23.51,7.17), rotation=pi, x_reflection=True))
x2_cm_casc__cc4.add(gdstk.Reference(nfet_01v8_w1p4_l0p6_m36_, (22.03,7.17), rotation=pi, x_reflection=True))
x2_cm_casc__cc4.add(gdstk.Reference(nfet_01v8_w1p4_l0p6_m36_, (20.55,7.17), rotation=pi, x_reflection=True))
x2_cm_casc__cc4.add(gdstk.Reference(nfet_01v8_w1p4_l0p6_m36_, (19.07,7.17), rotation=pi, x_reflection=True))
x2_cm_casc__cc4.add(gdstk.Reference(nfet_01v8_w1p4_l0p6_m36_, (17.59,7.17), rotation=pi, x_reflection=True))
x2_cm_casc__cc4.add(gdstk.Reference(nfet_01v8_w1p4_l0p6_m36_, (16.11,7.17), rotation=pi, x_reflection=True))
x2_cm_casc__cc4.add(gdstk.Reference(nfet_01v8_w1p4_l0p6_m36_, (13.45,7.17)))
x2_cm_casc__cc4.add(gdstk.Reference(nfet_01v8_w1p4_l0p6_m36_, (11.97,7.17)))
x2_cm_casc__cc4.add(gdstk.Reference(nfet_01v8_w1p4_l0p6_m36_, (10.49,7.17)))
x2_cm_casc__cc4.add(gdstk.Reference(nfet_01v8_w1p4_l0p6_m36_, (9.01,7.17)))
x2_cm_casc__cc4.add(gdstk.Reference(nfet_01v8_w1p4_l0p6_m36_, (7.53,7.17)))
x2_cm_casc__cc4.add(gdstk.Reference(nfet_01v8_w1p4_l0p6_m36_, (6.05,7.17)))
x2_cm_casc__cc4.add(gdstk.Reference(nfet_01v8_w1p4_l0p6_m36_, (4.57,7.17)))
x2_cm_casc__cc4.add(gdstk.Reference(nfet_01v8_w1p4_l0p6_m36_, (3.09,7.17)))
x2_cm_casc__cc4.add(gdstk.Reference(nfet_01v8_w1p4_l0p6_m36_, (1.61,7.17)))
x2_cm_casc__cc4.add(gdstk.Reference(nfet_01v8_w1p4_l0p6_m2__, (0.13,7.17)))
x2_cm_casc__cc4.add(gdstk.Reference(nfet_01v8_w1p4_l0p6_m2__, (29,0)))
x2_cm_casc__cc4.add(gdstk.Reference(nfet_01v8_w1p4_l0p6_m36_, (27.95,0), rotation=pi, x_reflection=True))
x2_cm_casc__cc4.add(gdstk.Reference(nfet_01v8_w1p4_l0p6_m36_, (26.47,0), rotation=pi, x_reflection=True))
x2_cm_casc__cc4.add(gdstk.Reference(nfet_01v8_w1p4_l0p6_m36_, (24.99,0), rotation=pi, x_reflection=True))
x2_cm_casc__cc4.add(gdstk.Reference(nfet_01v8_w1p4_l0p6_m36_, (23.51,0), rotation=pi, x_reflection=True))
x2_cm_casc__cc4.add(gdstk.Reference(nfet_01v8_w1p4_l0p6_m36_, (22.03,0), rotation=pi, x_reflection=True))
x2_cm_casc__cc4.add(gdstk.Reference(nfet_01v8_w1p4_l0p6_m36_, (20.55,0), rotation=pi, x_reflection=True))
x2_cm_casc__cc4.add(gdstk.Reference(nfet_01v8_w1p4_l0p6_m36_, (19.07,0), rotation=pi, x_reflection=True))
x2_cm_casc__cc4.add(gdstk.Reference(nfet_01v8_w1p4_l0p6_m36_, (17.59,0), rotation=pi, x_reflection=True))
x2_cm_casc__cc4.add(gdstk.Reference(nfet_01v8_w1p4_l0p6_m36_, (16.11,0), rotation=pi, x_reflection=True))
x2_cm_casc__cc4.add(gdstk.Reference(nfet_01v8_w1p4_l0p6_m36_, (13.45,0)))
x2_cm_casc__cc4.add(gdstk.Reference(nfet_01v8_w1p4_l0p6_m36_, (11.97,0)))
x2_cm_casc__cc4.add(gdstk.Reference(nfet_01v8_w1p4_l0p6_m36_, (10.49,0)))
x2_cm_casc__cc4.add(gdstk.Reference(nfet_01v8_w1p4_l0p6_m36_, (9.01,0)))
x2_cm_casc__cc4.add(gdstk.Reference(nfet_01v8_w1p4_l0p6_m36_, (7.53,0)))
x2_cm_casc__cc4.add(gdstk.Reference(nfet_01v8_w1p4_l0p6_m36_, (6.05,0)))
x2_cm_casc__cc4.add(gdstk.Reference(nfet_01v8_w1p4_l0p6_m36_, (4.57,0)))
x2_cm_casc__cc4.add(gdstk.Reference(nfet_01v8_w1p4_l0p6_m36_, (3.09,0)))
x2_cm_casc__cc4.add(gdstk.Reference(nfet_01v8_w1p4_l0p6_m36_, (1.61,0)))
x2_cm_casc__cc4.add(gdstk.Reference(nfet_01v8_w1p4_l0p6_m2__, (0.13,0)))
x2_cm_casc__cc4.add(gdstk.Label('VSS', (-0.25,25.88), layer=70, texttype=5))
x2_cm_casc__cc4.add(gdstk.Label('bias_d', (-0.25,26.63), layer=70, texttype=5))
x2_cm_casc__cc4.add(gdstk.Label('op', (-0.25,-0.55), layer=70, texttype=5))
x2_cm_casc__cc4.add(gdstk.Label('on', (-0.25,-1.3), layer=70, texttype=5))
x2_cm_casc__cc4.add(gdstk.Label('x2_m3d', (-0.25,-2.05), layer=70, texttype=5))
x2_cm_casc__cc4.add(gdstk.Label('x2_m4d', (-0.25,-2.8), layer=70, texttype=5))
x2_cm_casc__cc4.add(gdstk.Label('VSS_body', (16.85,-3.6), layer=67, texttype=5))

lib.write_gds('x2_cm_casc__cc4.gds')
